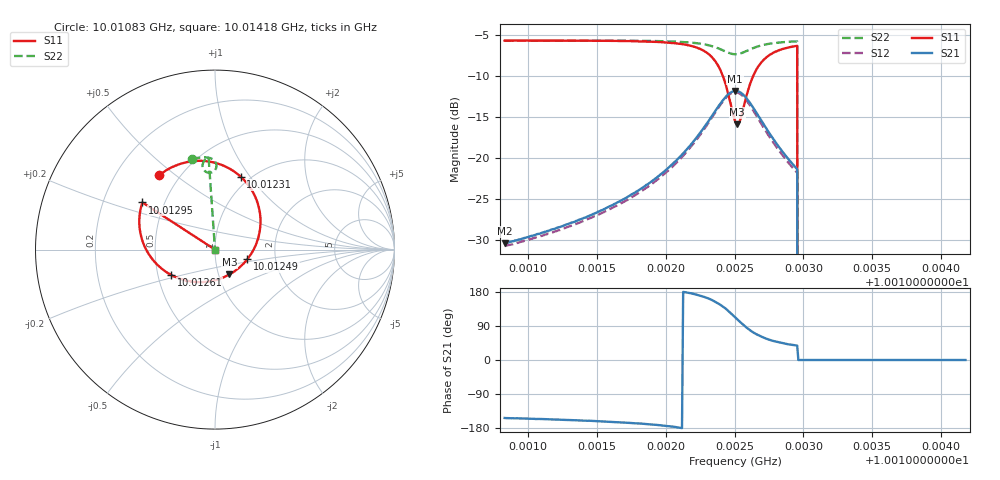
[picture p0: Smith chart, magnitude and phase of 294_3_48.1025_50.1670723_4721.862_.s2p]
#  HZ  S  RI  R  50.00
! Rohde & Schwarz Vector Network Analyzer
! Rohde-Schwarz,ZNB20-2Port,1311601062101988,3.16
! Created: UTC 12/23/2023, 4:04:06 AM
! freq[Hz]  re:S11  im:S11  re:S21  im:S21  re:S12  im:S12  re:S22  im:S22
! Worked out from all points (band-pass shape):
!   401 points, 10.01083 GHz to 10.01418 GHz, reference 50 ohm
!   highest |S21| = -11.82 dB at 10.0125 GHz (marker M1); lowest = -30.4 dB at 10.01083 GHz (marker M2)
!   |S21| within 3 dB of the highest: 10.01234 GHz to 10.01267 GHz (333.4 kHz wide, 0.00333 % of centre)
!   lowest |S11| = -15.9 dB at 10.01252 GHz (marker M3), VSWR 1.38, Z = 56.3 - j16 ohm
!   |S11| at or under -10 dB: 10.01241 GHz to 10.01264 GHz (220.3 kHz wide, 0.0022 % of centre); 10.01296 GHz to end of sweep
!   |S22| runs from - to -5.7 dB; largest |S21 - S12| = 0.012
!   S11 on the Smith chart (normalised r, x): 10.01083 GHz: 0.39, +0.44; 10.01231 GHz: 0.91, +0.90; 10.01249 GHz: 1.43, -0.16; 10.01261 GHz: 0.59, -0.18; 10.01295 GHz: 0.38, +0.26; 10.01418 GHz: 1.00, +0.00
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1.001083e10  -0.3141 0.413  -0.027 -0.0138  -0.0253 -0.0146  -0.1298 0.5033
1.0011391e10  -0.2559 0.4509  -0.0401 -0.0148  -0.0378 -0.0164  -0.0906 0.5118
1.0011709e10  -0.2016 0.475  -0.0554 -0.0146  -0.0524 -0.0169  -0.0656 0.5143
1.0011951e10  -0.1309 0.4918  -0.0772 -0.0111  -0.0739 -0.0149  -0.0429 0.5136
1.0012185e10  0.00768 0.4817  -0.1215 0.00872  -0.1179 0.00206  -0.0147 0.5043
1.0012311e10  0.144 0.4056  -0.1602 0.0511  -0.1591 0.0408  0.00295 0.4864
1.0012369e10  0.2165 0.3103  -0.1752 0.0944  -0.177 0.0823  0.00778 0.4699
1.001242e10  0.253 0.1775  -0.1745 0.1457  -0.1779 0.1361  0.00516 0.4512
1.0012487e10  0.1811 -0.0529  -0.1227 0.223  -0.1295 0.2147  -0.0176 0.4298
1.0012503e10  0.1355 -0.1004  -0.1009 0.2359  -0.1069 0.2284  -0.0262 0.4278
1.001252e10  0.0806 -0.1387  -0.0767 0.2443  -0.0819 0.2373  -0.0349 0.4278
1.0012562e10  -0.0791 -0.1816  -0.0147 0.2436  -0.0202 0.2367  -0.0544 0.4359
1.0012612e10  -0.2437 -0.1415  0.0429 0.2128  0.0357 0.2065  -0.067 0.4537
1.0012662e10  -0.3455 -0.0579  0.0719 0.1726  0.0644 0.1673  -0.0692 0.4712
1.0012729e10  -0.4056 0.0533  0.0842 0.1265  0.0762 0.1238  -0.0637 0.4885
1.0012829e10  -0.4215 0.1732  0.0798 0.0825  0.0731 0.0814  -0.0509 0.5032
1.0012938e10  -0.4076 0.2535  0.069 0.0559  0.0635 0.0555  -0.0376 0.5115
1.0012955e10  -0.4047 0.2627  0.0675 0.0528  0.0619 0.0528  -0.0356 0.5123
1.001298e10  0 0  0 0  0 0  0 0
1.0013064e10  0 0  0 0  0 0  0 0
1.0013624e10  0 0  0 0  0 0  0 0
1.0014176e10  0 0  0 0  0 0  0 0
